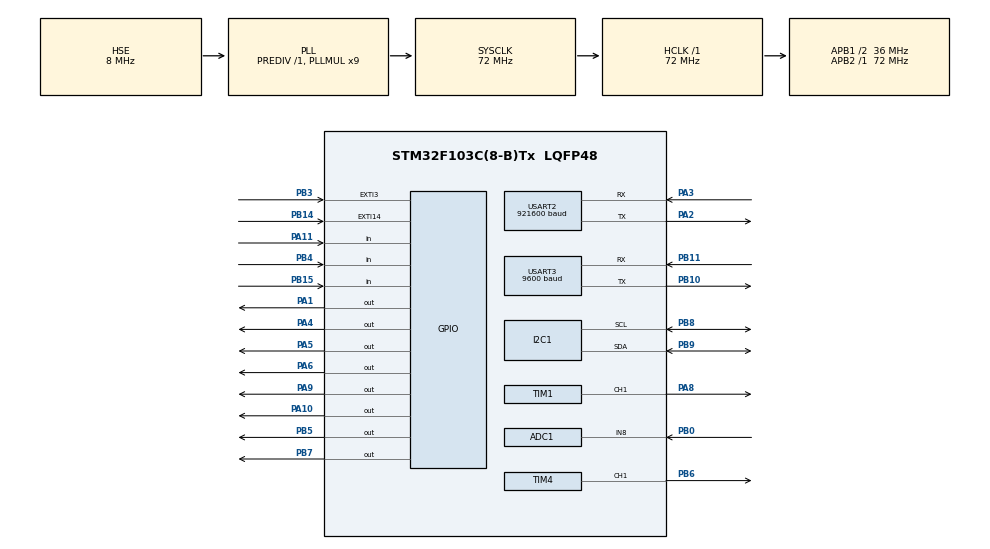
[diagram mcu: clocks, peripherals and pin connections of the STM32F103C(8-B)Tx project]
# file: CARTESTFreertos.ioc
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ADC1.Channel-3\#ChannelRegularConversion=ADC_CHANNEL_8
ADC1.ExternalTrigConv=ADC_EXTERNALTRIGCONV_T3_TRGO
ADC1.NbrOfConversionFlag=1
ADC1.Rank-3\#ChannelRegularConversion=1
ADC1.SamplingTime-3\#ChannelRegularConversion=ADC_SAMPLETIME_1CYCLE_5
ADC1.master=1
Dma.Request0=USART2_TX
Dma.Request1=USART3_RX
Dma.USART2_TX.0.Direction=DMA_MEMORY_TO_PERIPH
Dma.USART2_TX.0.Instance=DMA1_Channel7
Dma.USART2_TX.0.MemDataAlignment=DMA_MDATAALIGN_BYTE
Dma.USART2_TX.0.MemInc=DMA_MINC_ENABLE
Dma.USART2_TX.0.Mode=DMA_NORMAL
Dma.USART2_TX.0.PeriphDataAlignment=DMA_PDATAALIGN_BYTE
Dma.USART2_TX.0.PeriphInc=DMA_PINC_DISABLE
Dma.USART2_TX.0.Priority=DMA_PRIORITY_LOW
Dma.USART3_RX.1.Direction=DMA_PERIPH_TO_MEMORY
Dma.USART3_RX.1.Instance=DMA1_Channel3
Dma.USART3_RX.1.MemDataAlignment=DMA_MDATAALIGN_BYTE
Dma.USART3_RX.1.MemInc=DMA_MINC_ENABLE
Dma.USART3_RX.1.Mode=DMA_NORMAL
Dma.USART3_RX.1.PeriphDataAlignment=DMA_PDATAALIGN_BYTE
Dma.USART3_RX.1.PeriphInc=DMA_PINC_DISABLE
Dma.USART3_RX.1.Priority=DMA_PRIORITY_LOW
I2C1.I2C_Mode=I2C_Fast
IWDG.Prescaler=IWDG_PRESCALER_4
Mcu.Family=STM32F1
Mcu.Name=STM32F103C(8-B)Tx
Mcu.Package=LQFP48
NVIC.ADC1_2_IRQn=true\:0\:0\:false\:false\:true\:true\:true\:true
NVIC.DMA1_Channel3_IRQn=true\:6\:0\:true\:false\:true\:false\:true\:true
NVIC.DMA1_Channel7_IRQn=true\:5\:0\:true\:false\:true\:false\:true\:true
NVIC.EXTI15_10_IRQn=true\:0\:0\:false\:false\:true\:true\:true\:true
NVIC.EXTI3_IRQn=true\:0\:0\:false\:false\:true\:true\:true\:true
NVIC.PriorityGroup=NVIC_PRIORITYGROUP_4
NVIC.TIM1_BRK_IRQn=true\:0\:0\:false\:false\:true\:true\:true\:true
NVIC.TIM1_CC_IRQn=true\:0\:0\:false\:false\:true\:true\:true\:true
NVIC.TIM1_TRG_COM_IRQn=true\:0\:0\:false\:false\:true\:true\:true\:true
NVIC.TIM1_UP_IRQn=true\:0\:0\:false\:false\:true\:true\:true\:true
NVIC.TIM2_IRQn=true\:15\:0\:false\:false\:true\:false\:true\:true
NVIC.TIM3_IRQn=true\:0\:0\:false\:false\:true\:true\:true\:true
NVIC.TIM4_IRQn=true\:0\:0\:false\:false\:true\:true\:true\:true
NVIC.TimeBase=TIM2_IRQn
NVIC.TimeBaseIP=TIM2
NVIC.USART2_IRQn=true\:5\:0\:true\:false\:true\:true\:true\:true
NVIC.USART3_IRQn=true\:7\:0\:true\:false\:true\:true\:true\:true
PA1.Signal=GPIO_Output
PA10.Signal=GPIO_Output
PA11.GPIO_PuPd=GPIO_PULLUP
PA11.Signal=GPIO_Input
PA13.Mode=Serial_Wire
PA13.Signal=SYS_JTMS-SWDIO
PA14.Mode=Serial_Wire
PA14.Signal=SYS_JTCK-SWCLK
PA2.Mode=Asynchronous
PA2.Signal=USART2_TX
PA3.Mode=Asynchronous
PA3.Signal=USART2_RX
PA4.Signal=GPIO_Output
PA5.Signal=GPIO_Output
PA6.Signal=GPIO_Output
PA8.Signal=S_TIM1_CH1
PA9.Signal=GPIO_Output
PB0.Signal=ADCx_IN8
PB10.Mode=Asynchronous
PB10.Signal=USART3_TX
PB11.GPIO_PuPd=GPIO_PULLUP
PB11.Mode=Asynchronous
PB11.Signal=USART3_RX
PB14.GPIO_ModeDefaultEXTI=GPIO_MODE_IT_RISING_FALLING
PB14.GPIO_PuPd=GPIO_PULLUP
PB14.Signal=GPXTI14
PB15.GPIO_PuPd=GPIO_PULLUP
PB15.Signal=GPIO_Input
PB3.GPIO_ModeDefaultEXTI=GPIO_MODE_IT_RISING_FALLING
PB3.GPIO_PuPd=GPIO_PULLUP
PB3.Signal=GPXTI3
PB4.GPIO_PuPd=GPIO_PULLUP
PB4.Signal=GPIO_Input
PB5.Signal=GPIO_Output
PB6.Signal=S_TIM4_CH1
PB7.Signal=GPIO_Output
PB8.Mode=I2C
PB8.Signal=I2C1_SCL
PB9.Mode=I2C
PB9.Signal=I2C1_SDA
PD0-OSC_IN.Mode=HSE-External-Oscillator
PD0-OSC_IN.Signal=RCC_OSC_IN
PD1-OSC_OUT.Mode=HSE-External-Oscillator
PD1-OSC_OUT.Signal=RCC_OSC_OUT
ProjectManager.HeapSize=0x200
ProjectManager.StackSize=0x400
ProjectManager.TargetToolchain=CMake
RCC.ADCPresc=RCC_ADCPCLK2_DIV6
RCC.AHBFreq_Value=72000000
RCC.APB1CLKDivider=RCC_HCLK_DIV2
RCC.APB1Freq_Value=36000000
RCC.APB1TimFreq_Value=72000000
RCC.APB2Freq_Value=72000000
RCC.APB2TimFreq_Value=72000000
RCC.HCLKFreq_Value=72000000
RCC.PLLMUL=RCC_PLL_MUL9
RCC.PLLSourceVirtual=RCC_PLLSOURCE_HSE
RCC.SYSCLKFreq_VALUE=72000000
RCC.SYSCLKSource=RCC_SYSCLKSOURCE_PLLCLK
RCC.USBFreq_Value=72000000
SH.ADCx_IN8.0=ADC1_IN8,IN8
SH.S_TIM1_CH1.0=TIM1_CH1,PWM Generation1 CH1
SH.S_TIM4_CH1.0=TIM4_CH1,PWM Generation1 CH1
TIM1.Channel-PWM\ Generation1\ CH1=TIM_CHANNEL_1
TIM1.Period=99
TIM1.Prescaler=71
TIM3.Period=9999
TIM3.Prescaler=71
TIM3.TIM_MasterOutputTrigger=TIM_TRGO_UPDATE
TIM3.TIM_MasterSlaveMode=TIM_MASTERSLAVEMODE_ENABLE
TIM4.AutoReloadPreload=TIM_AUTORELOAD_PRELOAD_ENABLE
TIM4.Channel-PWM\ Generation1\ CH1=TIM_CHANNEL_1
TIM4.Period=99
TIM4.Prescaler=71
USART2.BaudRate=921600
USART2.VirtualMode=VM_ASYNC
USART3.BaudRate=9600
USART3.VirtualMode=VM_ASYNC
VP_IWDG_VS_IWDG.Mode=IWDG_Activate
VP_SYS_VS_tim2.Mode=TIM2
VP_TIM1_VS_ClockSourceINT.Mode=Internal
VP_TIM3_VS_ClockSourceINT.Mode=Internal
VP_TIM4_VS_ClockSourceINT.Mode=Internal
board=custom

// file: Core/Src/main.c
/* USER CODE BEGIN Header */
/**
  ******************************************************************************
  * @file           : main.c
  * @brief          : Main program body
  ******************************************************************************
  * @attention
  *
  * Copyright (c) 2026 STMicroelectronics.
  * All rights reserved.
  *
  * This software is licensed under terms that can be found in the LICENSE file
  * in the root directory of this software component.
  * If no LICENSE file comes with this software, it is provided AS-IS.
  *
  ******************************************************************************
  */
/* USER CODE END Header */
#include "main.h"

/* USER CODE BEGIN Includes */
#include "FreeRTOS.h"
#include "memory_monitor.h"
#include "semphr.h"
#include "portmacro.h"
#include "projdefs.h"
#include "task.h"
#include "app_control.h"
#include "app_pwm.h"
#include "app_bat.h"
#include "button.h"
#include "stm32f103xb.h"
#include "stm32f1xx_hal_adc_ex.h"
#include "stm32f1xx_hal_gpio.h"
#include "stm32f1xx_hal_uart.h"
#include <stdint.h>
#include <stdio.h>
#include <sys/_types.h>
#include "app_usart2_dma.h"

/* USER CODE END Includes */

/* USER CODE BEGIN PTD */
#include "app_bat.h"
#include "app_pwm.h"
#include "delay.h"
#include "app_encoder.h"
#include "app_mpu6050.h"
#include "app_rc.h"
#include "button.h"
#include "app_motor.h"
#include "memory.h"
#include "app_usart2_dma.h"
/* USER CODE END PTD */

ADC_HandleTypeDef hadc1;

I2C_HandleTypeDef hi2c1;

IWDG_HandleTypeDef hiwdg;

TIM_HandleTypeDef htim1;
TIM_HandleTypeDef htim3;
TIM_HandleTypeDef htim4;

UART_HandleTypeDef huart2;
UART_HandleTypeDef huart3;
DMA_HandleTypeDef hdma_usart2_tx;
DMA_HandleTypeDef hdma_usart3_rx;

/* USER CODE BEGIN PV */
TaskHandle_t mot;
/* 诊断容器定义（类型在 main.h 的 diag_ctx_t）：
   TIM2 中断次数、中断屏蔽状态、I2C 返回值全部在这里，Watch 里展开 g_diag 即可 */
volatile diag_ctx_t g_diag = {0};
/* USER CODE END PV */

void SystemClock_Config(void);
static void MX_GPIO_Init(void);
static void MX_DMA_Init(void);
static void MX_ADC1_Init(void);
static void MX_I2C1_Init(void);
static void MX_TIM1_Init(void);
static void MX_TIM4_Init(void);
static void MX_USART2_UART_Init(void);
static void MX_TIM3_Init(void);
static void MX_USART3_UART_Init(void);
static void MX_IWDG_Init(void);

/* USER CODE BEGIN 0 */
  float AAP;
  volatile uint32_t ssda = 0;   /* 调试面包屑：volatile 保证每次都真写内存，调试器里能看到变化 */
  volatile float test_var = 3.14f;

/* 版本号由 CMake 注入（FW_VERSION）；EIDE 等非 CMake 构建时回退为 dev */
#ifndef FW_VERSION
#define FW_VERSION "dev"
#endif

/* 复位原因判定：按“最具体优先”的顺序检查，打印后统一清标志，供下一次上电使用 */
static const char *prvResetCause(void)
{
  if (__HAL_RCC_GET_FLAG(RCC_FLAG_IWDGRST)  != RESET) { return "IWDG"; }
  if (__HAL_RCC_GET_FLAG(RCC_FLAG_WWDGRST)  != RESET) { return "WWDG"; }
  if (__HAL_RCC_GET_FLAG(RCC_FLAG_LPWRRST)  != RESET) { return "LOWPOWER"; }
  if (__HAL_RCC_GET_FLAG(RCC_FLAG_SFTRST)   != RESET) { return "SOFTWARE"; }
  if (__HAL_RCC_GET_FLAG(RCC_FLAG_PORRST)   != RESET) { return "POWER-ON"; }
  if (__HAL_RCC_GET_FLAG(RCC_FLAG_PINRST)   != RESET) { return "PIN"; }
  return "UNKNOWN";
}

/* 上电首行：fw ver / build date / reset cause。调度器启动前阻塞直发，不依赖 RTOS */
static void prvPrintBootInfo(void)
{
  char line[96];
  int n = snprintf(line, sizeof(line), "fw %s | build %s %s | reset %s\r\n",
                   FW_VERSION, __DATE__, __TIME__, prvResetCause());
  if (n > 0)
  {
    if (n > (int)sizeof(line) - 1) { n = (int)sizeof(line) - 1; }
    HAL_UART_Transmit(&huart2, (uint8_t *)line, (uint16_t)n, 50);
  }
  __HAL_RCC_CLEAR_RESET_FLAGS();
}
/* USER CODE END 0 */

int main(void)
{

  /* USER CODE BEGIN 1 */
int s =1;
  if ( s> 0) { AAP = 1.0f; }

  /* USER CODE END 1 */

  /* MCU Configuration--------------------------------------------------------*/

  /* Reset of all peripherals, Initializes the Flash interface and the Systick. */
  HAL_Init();

  /* Configure the system clock */
  SystemClock_Config();

  /* Initialize all configured peripherals */
  MX_GPIO_Init();
  MX_DMA_Init();
  MX_ADC1_Init();
  MX_I2C1_Init();
  MX_TIM1_Init();
  MX_TIM4_Init();
  MX_USART2_UART_Init();
  MX_TIM3_Init();
  MX_USART3_UART_Init();
  MX_IWDG_Init();
  /* USER CODE BEGIN 2 */
  /* ---- 上电首行：固件版本 / 构建时间 / 复位原因 ---- */
  prvPrintBootInfo();
  /* ---- 调试标记：阻塞式直接发串口，绕过 FreeRTOS 队列/DMA 打印链路 ----
     看到 "B1" 说明 MCU 已经跑到这里，且 USART2 硬件通路正常 */
  HAL_UART_Transmit(&huart2, (uint8_t *)"B1\r\n", 4, 50);
#define BOOT_STEP(c)  do { uint8_t _c = (uint8_t)(c); HAL_UART_Transmit(&huart2, &_c, 1, 20); } while (0)
  /* 调试断点时暂停 IWDG 计数，否则 CPU 一停就被复位（仅连接调试器时生效） */
  __HAL_DBGMCU_FREEZE_IWDG();

  /* ---- 中断优先级统一编排（所有 MX_*_Init 之后执行，覆盖它们设的值）----
   * 数字越小优先级越高；ISR 里要调 FreeRTOS FromISR 接口的，数值必须 >= 5。
   *   TIM2(HAL 1ms 时基) = 5：回调里会 vTaskNotifyGiveFromISR
   *   USART3(蓝牙 DMA + 空闲中断) = 5：回调里会 xSemaphoreGiveFromISR
   *   EXTI(编码器)/ADC/TIM1/TIM3/TIM4 = 6：高频中断，不能压过上面两个，否则 tick 被饿死
   */
  HAL_NVIC_SetPriority(TIM2_IRQn,        5U, 0U);
  HAL_NVIC_SetPriority(USART3_IRQn,      5U, 0U);
  HAL_NVIC_SetPriority(EXTI3_IRQn,       6U, 0U);
  HAL_NVIC_SetPriority(EXTI15_10_IRQn,   6U, 0U);
  HAL_NVIC_SetPriority(ADC1_2_IRQn,      6U, 0U);
  HAL_NVIC_SetPriority(TIM1_BRK_IRQn,    6U, 0U);
  HAL_NVIC_SetPriority(TIM1_UP_IRQn,     6U, 0U);
  HAL_NVIC_SetPriority(TIM1_TRG_COM_IRQn,6U, 0U);
  HAL_NVIC_SetPriority(TIM1_CC_IRQn,     6U, 0U);
  HAL_NVIC_SetPriority(TIM3_IRQn,        6U, 0U);
  HAL_NVIC_SetPriority(TIM4_IRQn,        6U, 0U);
  Delay_Init();//别删这个
  BOOT_STEP('1');
  App_PWM_Init();
  BOOT_STEP('2');

  /* ---- 开环电机测试：紧跟 App_PWM_Init，排除后面初始化卡死的影响 ---- */
  // App_PWM_Set_L(0.5f);           /* 50%，架空车轮看方向；15% 可能低于启动转矩 */
  // App_PWM_Set_R(0.5f);
  // while (1)
  // {
  //   ssda++;                      /* 调试器里能涨 = 代码确实跑到这里了 */
  //   HAL_IWDG_Refresh(&hiwdg);    /* 必须喂，否则 0.41s 后复位 */
  //   HAL_Delay(50);
  // }

  APP_batInit();
  BOOT_STEP('3');
  App_Encoder_Init();
  BOOT_STEP('4');
  App_RC_Init();
  BOOT_STEP('5');
  App_MPU6050_Init();
  BOOT_STEP('6');
  /* IWDG 在 MX_IWDG_Init 就已启动，但此时调度器还没起、没任务喂狗；
     初始化里耗时的 HAL_Delay(100) 之后补喂一次，避免初始化期间被复位 */
  HAL_IWDG_Refresh(&hiwdg);
  BOOT_STEP('7');
  App_Control_Init();
  BOOT_STEP('8');
  App_Motor_Init();
  BOOT_STEP('9');
  /* ---- 上电自动标定：先左轮、再右轮，各自测出编码器 A 相占空比 ----
     注意：本函数会直接驱动电机，必须【车轮架空】再上电，否则小车会向前跑。
     放在这里是因为：调度器未启动（TIM2 不会触发 PID）、PWM/DWT/编码器均已初始化；
     函数内部每 50ms 手动喂一次 IWDG，不会触发看门狗复位。 */
  App_Encoder_AutoCalibrate();
  App_USART2_Init();
  BOOT_STEP('A');

  TaskHandle_t att;TaskHandle_t ctrl;TaskHandle_t rc;

  /* 创建控制任务：栈 384 字，优先级 4，周期 5ms。
     事件驱动修复：必须【先创建】控制任务，才能把它的句柄 ctrl 传给姿态任务作通知目标 */
  xTaskCreate(App_Control_Task, "ctrl", 384, NULL, 4, &ctrl);

  /* 创建姿态任务：栈 256 字（= 1KB），优先级 3。
     事件驱动修复：把 ctrl 传给它，姿态任务写完邮箱就 vTaskNotifyGive(ctrl) 通知控制任务 */
  xTaskCreate(App_Attitude_Task, "att", 256, ctrl, 3, &att);

  xTaskCreate( App_Motor_Proc,"motor",128,NULL,5,&mot);
  /* 创建遥控接收任务：栈 512 字（2048B）。
     原 256 字（1KB）不够：App_RC_Proc 里跑 newlib 的 sscanf + vsnprintf，
     实测爆栈（vApplicationStackOverflowHook 计数 0→1），钩子会关中断死循环，
     再被 IWDG 复位 → 表现为"一收蓝牙数据就复位、计数永远停在 23/2"。
     现在解析和打印已改成手写实现，512 字留足余量。 */
  xTaskCreate(APP_rc_rxTask, "rc", 512, NULL, 2, &rc);
  vRegisterTaskForMonitoring(att);
  vRegisterTaskForMonitoring(ctrl);
  vRegisterTaskForMonitoring(rc);
  vRegisterTaskForMonitoring(mot);
  vRegisterTaskForMonitoring(usart2);   /* UART2_TX：之前漏注册，栈降到 128 字后必须观测 */

  /* 启动内存监控任务，周期性打印各任务栈高水位 + 堆用量 */
  vStartMemoryMonitor();
  /* 启动调度器。正常情况永远不会返回 */
  HAL_UART_Transmit(&huart2, (uint8_t *)"B2\r\n", 4, 50);   /* 看到 B2 = 所有初始化都过了 */
  vTaskStartScheduler();

  /* USER CODE END 2 */

  /* Infinite loop */
  /* USER CODE BEGIN WHILE */
  App_PWM_Cmd(1);
  /* 走到这里说明 vTaskStartScheduler() 启动失败（多半是 FreeRTOS 堆不够，
     堆在 FreeRTOSConfig.h 的 configTOTAL_HEAP_SIZE）。 */
  HAL_UART_Transmit(&huart2, (uint8_t *)"SCHED-FAIL\r\n", 12, 50);
  while (1)
  {
    /* USER CODE END WHILE */

  }
}

void SystemClock_Config(void)
{
  RCC_OscInitTypeDef RCC_OscInitStruct = {0};
  RCC_ClkInitTypeDef RCC_ClkInitStruct = {0};
  RCC_PeriphCLKInitTypeDef PeriphClkInit = {0};

  /** Initializes the RCC Oscillators according to the specified parameters
  * in the RCC_OscInitTypeDef structure.
  */
  RCC_OscInitStruct.OscillatorType = RCC_OSCILLATORTYPE_LSI|RCC_OSCILLATORTYPE_HSE;
  RCC_OscInitStruct.HSEState = RCC_HSE_ON;
  RCC_OscInitStruct.HSEPredivValue = RCC_HSE_PREDIV_DIV1;
  RCC_OscInitStruct.HSIState = RCC_HSI_ON;
  RCC_OscInitStruct.LSIState = RCC_LSI_ON;
  RCC_OscInitStruct.PLL.PLLState = RCC_PLL_ON;
  RCC_OscInitStruct.PLL.PLLSource = RCC_PLLSOURCE_HSE;
  RCC_OscInitStruct.PLL.PLLMUL = RCC_PLL_MUL9;
  if (HAL_RCC_OscConfig(&RCC_OscInitStruct) != HAL_OK)
  {
    Error_Handler();
  }

  /** Initializes the CPU, AHB and APB buses clocks
  */
  RCC_ClkInitStruct.ClockType = RCC_CLOCKTYPE_HCLK|RCC_CLOCKTYPE_SYSCLK
                              |RCC_CLOCKTYPE_PCLK1|RCC_CLOCKTYPE_PCLK2;
  RCC_ClkInitStruct.SYSCLKSource = RCC_SYSCLKSOURCE_PLLCLK;
  RCC_ClkInitStruct.AHBCLKDivider = RCC_SYSCLK_DIV1;
  RCC_ClkInitStruct.APB1CLKDivider = RCC_HCLK_DIV2;
  RCC_ClkInitStruct.APB2CLKDivider = RCC_HCLK_DIV1;

  if (HAL_RCC_ClockConfig(&RCC_ClkInitStruct, FLASH_LATENCY_2) != HAL_OK)
  {
    Error_Handler();
  }
  PeriphClkInit.PeriphClockSelection = RCC_PERIPHCLK_ADC;
  PeriphClkInit.AdcClockSelection = RCC_ADCPCLK2_DIV6;
  if (HAL_RCCEx_PeriphCLKConfig(&PeriphClkInit) != HAL_OK)
  {
    Error_Handler();
  }
}

static void MX_ADC1_Init(void)
{

  ADC_ChannelConfTypeDef sConfig = {0};

  /** Common config
  */
  hadc1.Instance = ADC1;
  hadc1.Init.ScanConvMode = ADC_SCAN_DISABLE;
  hadc1.Init.ContinuousConvMode = DISABLE;
  hadc1.Init.DiscontinuousConvMode = DISABLE;
  hadc1.Init.ExternalTrigConv = ADC_EXTERNALTRIGCONV_T3_TRGO;
  hadc1.Init.DataAlign = ADC_DATAALIGN_RIGHT;
  hadc1.Init.NbrOfConversion = 1;
  if (HAL_ADC_Init(&hadc1) != HAL_OK)
  {
    Error_Handler();
  }

  /** Configure Regular Channel
  */
  sConfig.Channel = ADC_CHANNEL_8;
  sConfig.Rank = ADC_REGULAR_RANK_1;
  sConfig.SamplingTime = ADC_SAMPLETIME_1CYCLE_5;
  if (HAL_ADC_ConfigChannel(&hadc1, &sConfig) != HAL_OK)
  {
    Error_Handler();
  }

}

static void MX_I2C1_Init(void)
{

  hi2c1.Instance = I2C1;
  hi2c1.Init.ClockSpeed = 400000;
  hi2c1.Init.DutyCycle = I2C_DUTYCYCLE_2;
  hi2c1.Init.OwnAddress1 = 0;
  hi2c1.Init.AddressingMode = I2C_ADDRESSINGMODE_7BIT;
  hi2c1.Init.DualAddressMode = I2C_DUALADDRESS_DISABLE;
  hi2c1.Init.OwnAddress2 = 0;
  hi2c1.Init.GeneralCallMode = I2C_GENERALCALL_DISABLE;
  hi2c1.Init.NoStretchMode = I2C_NOSTRETCH_DISABLE;
  if (HAL_I2C_Init(&hi2c1) != HAL_OK)
  {
    Error_Handler();
  }

}

static void MX_IWDG_Init(void)
{

  hiwdg.Instance = IWDG;
  hiwdg.Init.Prescaler = IWDG_PRESCALER_4;
  hiwdg.Init.Reload = 4095;
  if (HAL_IWDG_Init(&hiwdg) != HAL_OK)
  {
    Error_Handler();
  }

}

static void MX_TIM1_Init(void)
{

  TIM_ClockConfigTypeDef sClockSourceConfig = {0};
  TIM_MasterConfigTypeDef sMasterConfig = {0};
  TIM_OC_InitTypeDef sConfigOC = {0};
  TIM_BreakDeadTimeConfigTypeDef sBreakDeadTimeConfig = {0};

  htim1.Instance = TIM1;
  htim1.Init.Prescaler = 71;
  htim1.Init.CounterMode = TIM_COUNTERMODE_UP;
  htim1.Init.Period = 99;
  htim1.Init.ClockDivision = TIM_CLOCKDIVISION_DIV1;
  htim1.Init.RepetitionCounter = 0;
  htim1.Init.AutoReloadPreload = TIM_AUTORELOAD_PRELOAD_DISABLE;
  if (HAL_TIM_Base_Init(&htim1) != HAL_OK)
  {
    Error_Handler();
  }
  sClockSourceConfig.ClockSource = TIM_CLOCKSOURCE_INTERNAL;
  if (HAL_TIM_ConfigClockSource(&htim1, &sClockSourceConfig) != HAL_OK)
  {
    Error_Handler();
  }
  if (HAL_TIM_PWM_Init(&htim1) != HAL_OK)
  {
    Error_Handler();
  }
  sMasterConfig.MasterOutputTrigger = TIM_TRGO_RESET;
  sMasterConfig.MasterSlaveMode = TIM_MASTERSLAVEMODE_DISABLE;
  if (HAL_TIMEx_MasterConfigSynchronization(&htim1, &sMasterConfig) != HAL_OK)
  {
    Error_Handler();
  }
  sConfigOC.OCMode = TIM_OCMODE_PWM1;
  sConfigOC.Pulse = 0;
  sConfigOC.OCPolarity = TIM_OCPOLARITY_HIGH;
  sConfigOC.OCNPolarity = TIM_OCNPOLARITY_HIGH;
  sConfigOC.OCFastMode = TIM_OCFAST_DISABLE;
  sConfigOC.OCIdleState = TIM_OCIDLESTATE_RESET;
  sConfigOC.OCNIdleState = TIM_OCNIDLESTATE_RESET;
  if (HAL_TIM_PWM_ConfigChannel(&htim1, &sConfigOC, TIM_CHANNEL_1) != HAL_OK)
  {
    Error_Handler();
  }
  sBreakDeadTimeConfig.OffStateRunMode = TIM_OSSR_DISABLE;
  sBreakDeadTimeConfig.OffStateIDLEMode = TIM_OSSI_DISABLE;
  sBreakDeadTimeConfig.LockLevel = TIM_LOCKLEVEL_OFF;
  sBreakDeadTimeConfig.DeadTime = 0;
  sBreakDeadTimeConfig.BreakState = TIM_BREAK_DISABLE;
  sBreakDeadTimeConfig.BreakPolarity = TIM_BREAKPOLARITY_HIGH;
  sBreakDeadTimeConfig.AutomaticOutput = TIM_AUTOMATICOUTPUT_DISABLE;
  if (HAL_TIMEx_ConfigBreakDeadTime(&htim1, &sBreakDeadTimeConfig) != HAL_OK)
  {
    Error_Handler();
  }
  HAL_TIM_MspPostInit(&htim1);

}

static void MX_TIM3_Init(void)
{

  TIM_ClockConfigTypeDef sClockSourceConfig = {0};
  TIM_MasterConfigTypeDef sMasterConfig = {0};

  htim3.Instance = TIM3;
  htim3.Init.Prescaler = 71;
  htim3.Init.CounterMode = TIM_COUNTERMODE_UP;
  htim3.Init.Period = 9999;
  htim3.Init.ClockDivision = TIM_CLOCKDIVISION_DIV1;
  htim3.Init.AutoReloadPreload = TIM_AUTORELOAD_PRELOAD_DISABLE;
  if (HAL_TIM_Base_Init(&htim3) != HAL_OK)
  {
    Error_Handler();
  }
  sClockSourceConfig.ClockSource = TIM_CLOCKSOURCE_INTERNAL;
  if (HAL_TIM_ConfigClockSource(&htim3, &sClockSourceConfig) != HAL_OK)
  {
    Error_Handler();
  }
  sMasterConfig.MasterOutputTrigger = TIM_TRGO_UPDATE;
  sMasterConfig.MasterSlaveMode = TIM_MASTERSLAVEMODE_ENABLE;
  if (HAL_TIMEx_MasterConfigSynchronization(&htim3, &sMasterConfig) != HAL_OK)
  {
    Error_Handler();
  }

}

static void MX_TIM4_Init(void)
{

  TIM_ClockConfigTypeDef sClockSourceConfig = {0};
  TIM_MasterConfigTypeDef sMasterConfig = {0};
  TIM_OC_InitTypeDef sConfigOC = {0};

  htim4.Instance = TIM4;
  htim4.Init.Prescaler = 71;
  htim4.Init.CounterMode = TIM_COUNTERMODE_UP;
  htim4.Init.Period = 99;
  htim4.Init.ClockDivision = TIM_CLOCKDIVISION_DIV1;
  htim4.Init.AutoReloadPreload = TIM_AUTORELOAD_PRELOAD_ENABLE;
  if (HAL_TIM_Base_Init(&htim4) != HAL_OK)
  {
    Error_Handler();
  }
  sClockSourceConfig.ClockSource = TIM_CLOCKSOURCE_INTERNAL;
  if (HAL_TIM_ConfigClockSource(&htim4, &sClockSourceConfig) != HAL_OK)
  {
    Error_Handler();
  }
  if (HAL_TIM_PWM_Init(&htim4) != HAL_OK)
  {
    Error_Handler();
  }
  sMasterConfig.MasterOutputTrigger = TIM_TRGO_RESET;
  sMasterConfig.MasterSlaveMode = TIM_MASTERSLAVEMODE_DISABLE;
  if (HAL_TIMEx_MasterConfigSynchronization(&htim4, &sMasterConfig) != HAL_OK)
  {
    Error_Handler();
  }
  sConfigOC.OCMode = TIM_OCMODE_PWM1;
  sConfigOC.Pulse = 0;
  sConfigOC.OCPolarity = TIM_OCPOLARITY_HIGH;
  sConfigOC.OCFastMode = TIM_OCFAST_DISABLE;
  if (HAL_TIM_PWM_ConfigChannel(&htim4, &sConfigOC, TIM_CHANNEL_1) != HAL_OK)
  {
    Error_Handler();
  }
  HAL_TIM_MspPostInit(&htim4);

}

static void MX_USART2_UART_Init(void)
{

  huart2.Instance = USART2;
  huart2.Init.BaudRate = 921600;
  huart2.Init.WordLength = UART_WORDLENGTH_8B;
  huart2.Init.StopBits = UART_STOPBITS_1;
  huart2.Init.Parity = UART_PARITY_NONE;
  huart2.Init.Mode = UART_MODE_TX_RX;
  huart2.Init.HwFlowCtl = UART_HWCONTROL_NONE;
  huart2.Init.OverSampling = UART_OVERSAMPLING_16;
  if (HAL_UART_Init(&huart2) != HAL_OK)
  {
    Error_Handler();
  }

}

static void MX_USART3_UART_Init(void)
{

  huart3.Instance = USART3;
  huart3.Init.BaudRate = 9600;
  huart3.Init.WordLength = UART_WORDLENGTH_8B;
  huart3.Init.StopBits = UART_STOPBITS_1;
  huart3.Init.Parity = UART_PARITY_NONE;
  huart3.Init.Mode = UART_MODE_TX_RX;
  huart3.Init.HwFlowCtl = UART_HWCONTROL_NONE;
  huart3.Init.OverSampling = UART_OVERSAMPLING_16;
  if (HAL_UART_Init(&huart3) != HAL_OK)
  {
    Error_Handler();
  }

}

static void MX_DMA_Init(void)
{

  /* DMA controller clock enable */
  __HAL_RCC_DMA1_CLK_ENABLE();

  /* DMA interrupt init */
  /* DMA1_Channel3_IRQn interrupt configuration */
  HAL_NVIC_SetPriority(DMA1_Channel3_IRQn, 6, 0);
  HAL_NVIC_EnableIRQ(DMA1_Channel3_IRQn);
  /* DMA1_Channel7_IRQn interrupt configuration */
  HAL_NVIC_SetPriority(DMA1_Channel7_IRQn, 5, 0);
  HAL_NVIC_EnableIRQ(DMA1_Channel7_IRQn);

}

static void MX_GPIO_Init(void)
{
  GPIO_InitTypeDef GPIO_InitStruct = {0};

  /* GPIO Ports Clock Enable */
  __HAL_RCC_GPIOD_CLK_ENABLE();
  __HAL_RCC_GPIOA_CLK_ENABLE();
  __HAL_RCC_GPIOB_CLK_ENABLE();

  /*Configure GPIO pin Output Level */
  HAL_GPIO_WritePin(GPIOA, GPIO_PIN_1|GPIO_PIN_4|GPIO_PIN_5|GPIO_PIN_6
                          |GPIO_PIN_9|GPIO_PIN_10, GPIO_PIN_RESET);

  /*Configure GPIO pin Output Level */
  HAL_GPIO_WritePin(GPIOB, GPIO_PIN_5|GPIO_PIN_7, GPIO_PIN_RESET);

  /*Configure GPIO pins : PA1 PA4 PA5 PA6
                           PA9 PA10 */
  GPIO_InitStruct.Pin = GPIO_PIN_1|GPIO_PIN_4|GPIO_PIN_5|GPIO_PIN_6
                          |GPIO_PIN_9|GPIO_PIN_10;
  GPIO_InitStruct.Mode = GPIO_MODE_OUTPUT_PP;
  GPIO_InitStruct.Pull = GPIO_NOPULL;
  GPIO_InitStruct.Speed = GPIO_SPEED_FREQ_LOW;
  HAL_GPIO_Init(GPIOA, &GPIO_InitStruct);

  /*Configure GPIO pins : PB14 PB3 */
  GPIO_InitStruct.Pin = GPIO_PIN_14|GPIO_PIN_3;
  GPIO_InitStruct.Mode = GPIO_MODE_IT_RISING_FALLING;
  GPIO_InitStruct.Pull = GPIO_PULLUP;
  HAL_GPIO_Init(GPIOB, &GPIO_InitStruct);

  /*Configure GPIO pins : PB15 PB4 */
  GPIO_InitStruct.Pin = GPIO_PIN_15|GPIO_PIN_4;
  GPIO_InitStruct.Mode = GPIO_MODE_INPUT;
  GPIO_InitStruct.Pull = GPIO_PULLUP;
  HAL_GPIO_Init(GPIOB, &GPIO_InitStruct);

  /*Configure GPIO pin : PA11 */
  GPIO_InitStruct.Pin = GPIO_PIN_11;
  GPIO_InitStruct.Mode = GPIO_MODE_INPUT;
  GPIO_InitStruct.Pull = GPIO_PULLUP;
  HAL_GPIO_Init(GPIOA, &GPIO_InitStruct);

  /*Configure GPIO pins : PB5 PB7 */
  GPIO_InitStruct.Pin = GPIO_PIN_5|GPIO_PIN_7;
  GPIO_InitStruct.Mode = GPIO_MODE_OUTPUT_PP;
  GPIO_InitStruct.Pull = GPIO_NOPULL;
  GPIO_InitStruct.Speed = GPIO_SPEED_FREQ_LOW;
  HAL_GPIO_Init(GPIOB, &GPIO_InitStruct);

  /* EXTI interrupt init*/
  HAL_NVIC_SetPriority(EXTI3_IRQn, 0, 0);
  HAL_NVIC_EnableIRQ(EXTI3_IRQn);

  HAL_NVIC_SetPriority(EXTI15_10_IRQn, 0, 0);
  HAL_NVIC_EnableIRQ(EXTI15_10_IRQn);

}

/* USER CODE BEGIN 4 */

/* ---- 爆栈现场快照 ------------------------------------------------------------
 * 钩子运行在 PendSV / 调度器切换上下文的临界位置，此时：
 *   - 不能 pvPortMalloc（堆可能已被溢出踩坏）
 *   - 不能 xQueueSend(portMAX_DELAY)（调度器正在切换，阻塞行为未定义）
 * 所以这里只做"写全局变量 + 关中断死循环"，调试器直接看下面两个变量即可：
 *   g_ulStackOverflowCount : 爆栈次数（不放断点也能知道有没有进过钩子）
 *   g_cOverflowTaskName    : 爆栈的任务名
 * 断点建议打在本函数第一行（Count++ 那行）。
 * --------------------------------------------------------------------------- */
volatile uint32_t g_ulStackOverflowCount = 0;
volatile char     g_cOverflowTaskName[configMAX_TASK_NAME_LEN] = {0};

/**
  * @brief  任务栈溢出钩子
  * @note   configCHECK_FOR_STACK_OVERFLOW = 2 时必须由用户提供，否则链接报错。
  *         只有任务被切出去时才会检查，深溢出可能先 HardFault 而进不到这里。
  */
void vApplicationStackOverflowHook(TaskHandle_t xTask, char *pcTaskName)
{
  (void)xTask;
  g_ulStackOverflowCount++;
  for (uint32_t i = 0; (i < (configMAX_TASK_NAME_LEN - 1U)) && (pcTaskName[i] != '\0'); i++)
  {
    g_cOverflowTaskName[i] = pcTaskName[i];
  }
  g_cOverflowTaskName[configMAX_TASK_NAME_LEN - 1U] = '\0';

  taskDISABLE_INTERRUPTS();
  for (;;)
  {
  }
}

/* ---- 堆分配失败现场 --------------------------------------------------------
 * pvPortMalloc 返回 NULL 时由 heap_4.c 调用（configUSE_MALLOC_FAILED_HOOK=1）。
 * 与爆栈钩子同样原则：只写全局变量 + 关中断死循环，不碰堆/队列/串口。
 * 调试器里看：
 *   g_ulMallocFailedCount    : 失败次数
 *   g_ulMallocFailedFreeHeap : 失败时的剩余堆（区分"彻底没空间"还是"碎片化不够一块"）
 *   g_pvMallocFailedCaller   : 调用 pvPortMalloc 的返回地址，
 *                              用 arm-none-eabi-addr2line -e <elf> 0x<地址> 定位到源码行
 * ------------------------------------------------------------------------- */
volatile uint32_t g_ulMallocFailedCount = 0;
volatile uint32_t g_ulMallocFailedFreeHeap = 0;
volatile uint32_t g_pvMallocFailedCaller = 0;

void vApplicationMallocFailedHook(void)
{
  g_ulMallocFailedFreeHeap = (uint32_t)xPortGetFreeHeapSize();
  g_pvMallocFailedCaller = (uint32_t)__builtin_return_address(0);
  g_ulMallocFailedCount++;

  taskDISABLE_INTERRUPTS();
  for (;;)
  {
  }
}

/* USER CODE END 4 */

void HAL_TIM_PeriodElapsedCallback(TIM_HandleTypeDef *htim)
{
  /* USER CODE BEGIN Callback 0 */
  BaseType_t xhw = pdFALSE;
  if (htim->Instance == TIM2) { g_diag.tim2_irq_count++; }   /* 诊断：TIM2 中断计数 */
  /* USER CODE END Callback 0 */
  if (htim->Instance == TIM2)
  {
    HAL_IncTick();
  }
  /* USER CODE BEGIN Callback 1 */
  if (htim->Instance == TIM2) {
    if (mot != NULL ) {
      vTaskNotifyGiveFromISR(mot, &xhw);
      portYIELD_FROM_ISR(&xhw);
    }
  }

  /* USER CODE END Callback 1 */
}

void Error_Handler(void)
{
  __disable_irq();
  while (1)
  {
  }
}
